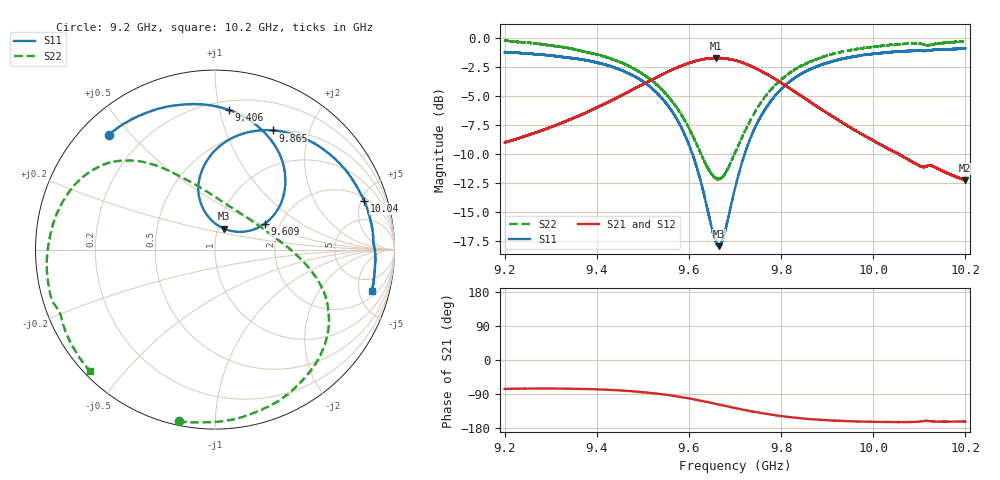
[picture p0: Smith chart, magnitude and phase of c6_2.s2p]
!Agilent Technologies,N5242A,MY51221714,A.09.90.19
!Agilent N5242A: A.09.90.19
!Date: Tuesday, March 26, 2024 15:57:10
!Correction: S11(Full 2 Port(1,2))
!S21(Full 2 Port(1,2))
!S12(Full 2 Port(1,2))
!S22(Full 2 Port(1,2))
!S2P File: Measurements: S11, S21, S12, S22:
# Hz S  dB  R 50
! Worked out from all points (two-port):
!   16001 points, 9.2 GHz to 10.2 GHz, reference 50 ohm
!   highest |S21| = -1.69 dB at 9.658 GHz (marker M1); lowest = -12.3 dB at 10.2 GHz (marker M2)
!   |S21| within 3 dB of the highest: 9.465248 GHz to 9.465548 GHz (299.5 kHz wide, 0.00316 % of centre); 9.466 GHz to 9.833 GHz (367 MHz wide, 3.8 % of centre)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
!   lowest |S11| = -18.0 dB at 9.665 GHz (marker M3), VSWR 1.29, Z = 53.7 + j12.7 ohm
!   |S11| at or under -10 dB: 9.608 GHz to 9.721 GHz (113.6 MHz wide, 1.18 % of centre)
!   |S22| runs from -12.2 to -0.2 dB; largest |S21 - S12| = 0.0098
!   S11 on the Smith chart (normalised r, x): 9.2 GHz: 0.08, +0.44; 9.406 GHz: 0.27, +1.07; 9.609 GHz: 1.66, +0.53; 9.865 GHz: 0.51, +1.47; 10.04 GHz: 2.31, +5.30; 10.2 GHz: 2.61, -6.68
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9.2e9  -1.19 132.7  -9.00 -76.3  -8.98 -77.0  -0.20 -102.0
9.27725e9  -1.40 115.6  -8.01 -75.3  -7.99 -76.0  -0.48 -81.1
9.366688e9  -1.82 94.4  -6.60 -76.3  -6.59 -76.9  -1.10 -58.0
9.406188e9  -2.14 84.2  -5.87 -77.7  -5.86 -78.4  -1.45 -48.2
9.469438e9  -3.02 66.7  -4.61 -81.8  -4.61 -82.4  -2.38 -33.5
9.533375e9  -4.86 47.2  -3.31 -89.1  -3.30 -89.7  -4.10 -18.7
9.5705e9  -6.75 35.8  -2.59 -95.4  -2.58 -95.9  -5.82 -9.1
9.608562e9  -10.13 27.6  -2.02 -103.2  -2.02 -103.9  -8.43 5.6
9.65825e9  -17.59 54.4  -1.69 -115.7  -1.69 -116.2  -12.10 50.3
9.664938e9  -17.97 66.9  -1.69 -117.4  -1.70 -118.0  -12.15 58.9
9.7e9  -12.98 105.5  -1.89 -126.6  -1.88 -127.2  -9.89 96.4
9.730938e9  -8.90 104.9  -2.33 -134.3  -2.32 -134.9  -7.28 113.7
9.766438e9  -6.08 95.2  -3.04 -141.8  -3.03 -142.5  -4.99 124.4
9.814438e9  -3.88 79.8  -4.22 -150.0  -4.21 -150.6  -3.11 134.8
9.86475e9  -2.64 64.2  -5.53 -156.1  -5.53 -156.6  -1.98 144.6
9.866688e9  -2.61 63.6  -5.59 -156.3  -5.59 -156.7  -1.95 145.0
9.949188e9  -1.63 40.7  -7.68 -161.6  -7.69 -162.0  -1.02 162.4
1.003338e10  -1.21 20.3  -9.56 -163.6  -9.55 -164.1  -0.58 -178.2
1.0043e10  -1.17 18.1  -9.75 -163.5  -9.75 -164.2  -0.54 -175.9
1.009912e10  -1.06 5.6  -10.99 -162.5  -10.99 -163.0  -0.45 -162.7
1.019975e10  -0.88 -14.8  -12.27 -162.1  -12.26 -162.7  -0.27 -136.0
1.02e10  -0.87 -14.8  -12.25 -162.2  -12.27 -162.7  -0.26 -136.0
